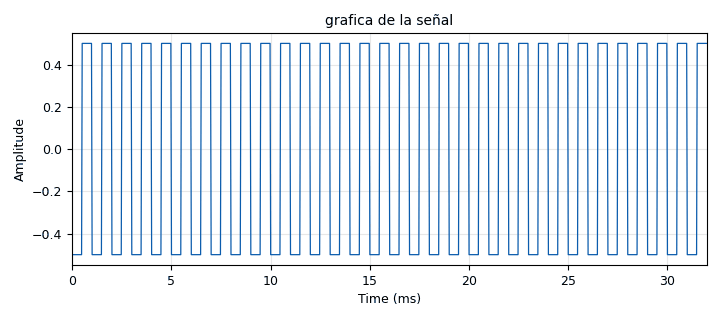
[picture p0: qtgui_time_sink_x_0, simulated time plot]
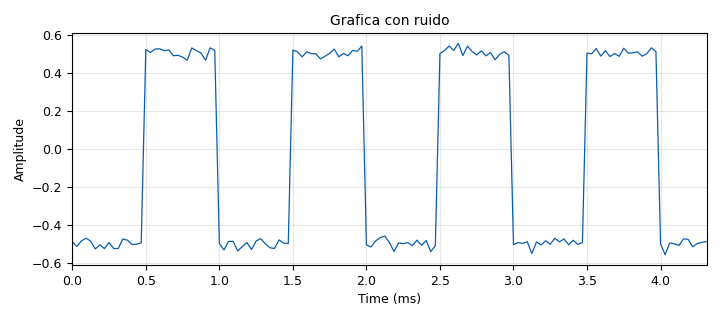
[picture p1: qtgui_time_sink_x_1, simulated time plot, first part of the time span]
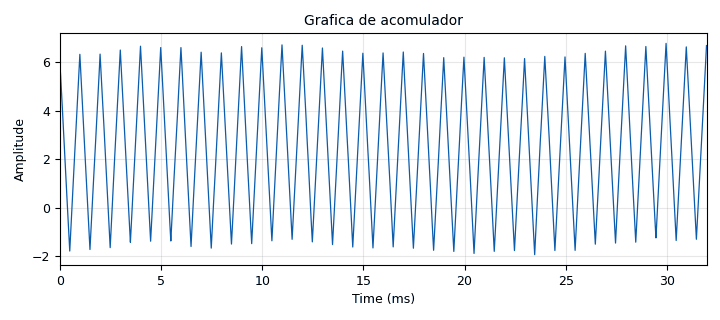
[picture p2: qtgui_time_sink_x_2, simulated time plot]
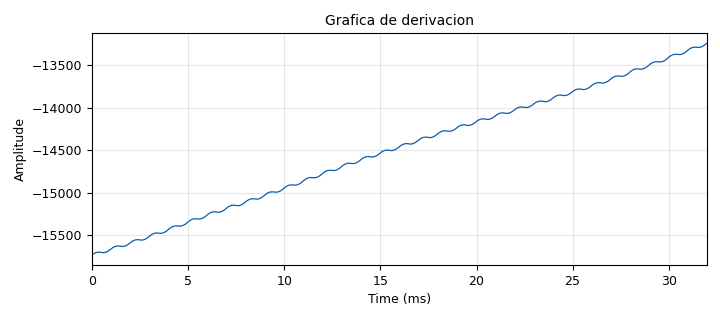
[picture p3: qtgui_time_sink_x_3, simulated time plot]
options:
  parameters:
    author: yuri9
    generate_options: qt_gui
    id: Lab_I_P10
    output_language: python
    title: punto_10
  states: {}

blocks:
- name: samp_rate
  id: variable
  parameters:
    value: '32000'
  states: {}
- name: analog_noise_source_x_0
  id: analog_noise_source_x
  parameters:
    amp: '0.02'
    noise_type: analog.GR_GAUSSIAN
    seed: '0'
    type: float
  states: {}
- name: analog_sig_source_x_0
  id: analog_sig_source_x
  parameters:
    amp: '1'
    freq: '1000'
    offset: '-0.5'
    phase: '0'
    samp_rate: samp_rate
    type: float
    waveform: analog.GR_SQR_WAVE
  states: {}
- name: blocks_add_xx_0
  id: blocks_add_xx
  parameters:
    type: float
  states: {}
- name: blocks_throttle2_0
  id: blocks_throttle2
  parameters:
    samples_per_second: samp_rate
    type: float
  states: {}
- name: blocks_throttle2_1
  id: blocks_throttle2
  parameters:
    samples_per_second: samp_rate
    type: float
  states: {}
- name: blocks_throttle2_2
  id: blocks_throttle2
  parameters:
    samples_per_second: samp_rate
    type: float
  states: {}
- name: epy_block_0
  id: epy_block
  parameters:
    _source_code: "import numpy as np\nfrom gnuradio import gr\n\nclass blk(gr.sync_block):\n    \n    def __init__(self):\n        # solo argumentos por defecto aquí\n        gr.sync_block.__init__(\n            self,\n            name='Acomulador',  # nombre que aparecerá en GRC\n            in_sig=[np.float32],\n            out_sig=[np.float32]\n        )\n\n    def work(self, input_items, output_items):\n        x = input_items[0]  # Señal de entrada\n        y0 = output_items[0]  # Señal acumulada\n        y0[:] = np.cumsum(x)  # Acumula la señal de entrada\n        \n        return len(y0)  # Devolver la longitud de la señal de salida\n\n"
  states: {}
- name: epy_block_1
  id: epy_block
  parameters:
    _source_code: |
      import numpy as np
      from gnuradio import gr

      class blk(gr.sync_block):
          def __init__(self):
              # Solo argumentos por defecto aquí
              gr.sync_block.__init__(
                  self,
                  name='Diferenciador',  # Nombre que aparecerá en GRC
                  in_sig=[np.float32],
                  out_sig=[np.float32]
              )
              
              # Atributo inicializado fuera de la llamada a __init__
              self.acum_anterior = 0

          def work(self, input_items, output_items):
              x = input_items[0]  # Señal de entrada
              y0 = output_items[0]  # Señal acumulada diferencial

              N = len(x)

              # Cálculo de la diferencia acumulada
              diff = np.cumsum(x) - self.acum_anterior
              self.acum_anterior = np.cumsum(x)[-1]  # Guardar el último valor acumulado

              # Asignar el resultado a la salida
              y0[:] = diff

              return len(x)  # Retorna la longitud de la señal de entrada procesada
  states: {}
- name: qtgui_time_sink_x_0
  id: qtgui_time_sink_x
  parameters:
    autoscale: 'True'
    name: '"grafica de la señal"'
    size: '1024'
    srate: samp_rate
    type: float
  states: {}
- name: qtgui_time_sink_x_1
  id: qtgui_time_sink_x
  parameters:
    autoscale: 'True'
    name: '"Grafica con ruido"'
    size: '1024'
    srate: samp_rate
    type: float
  states: {}
- name: qtgui_time_sink_x_2
  id: qtgui_time_sink_x
  parameters:
    autoscale: 'True'
    name: '"Grafica de acomulador"'
    size: '1024'
    srate: samp_rate
    type: float
  states: {}
- name: qtgui_time_sink_x_3
  id: qtgui_time_sink_x
  parameters:
    autoscale: 'True'
    name: '"Grafica de derivacion"'
    size: '1024'
    srate: samp_rate
    type: float
  states: {}

connections:
- [analog_noise_source_x_0, '0', blocks_throttle2_1, '0']
- [analog_sig_source_x_0, '0', blocks_throttle2_0, '0']
- [blocks_add_xx_0, '0', epy_block_0, '0']
- [blocks_add_xx_0, '0', qtgui_time_sink_x_1, '0']
- [blocks_throttle2_0, '0', blocks_add_xx_0, '0']
- [blocks_throttle2_0, '0', qtgui_time_sink_x_0, '0']
- [blocks_throttle2_1, '0', blocks_add_xx_0, '1']
- [blocks_throttle2_2, '0', epy_block_1, '0']
- [blocks_throttle2_2, '0', qtgui_time_sink_x_2, '0']
- [epy_block_0, '0', blocks_throttle2_2, '0']
- [epy_block_1, '0', qtgui_time_sink_x_3, '0']

metadata:
  file_format: 1
  grc_version: 3.10.9.2
